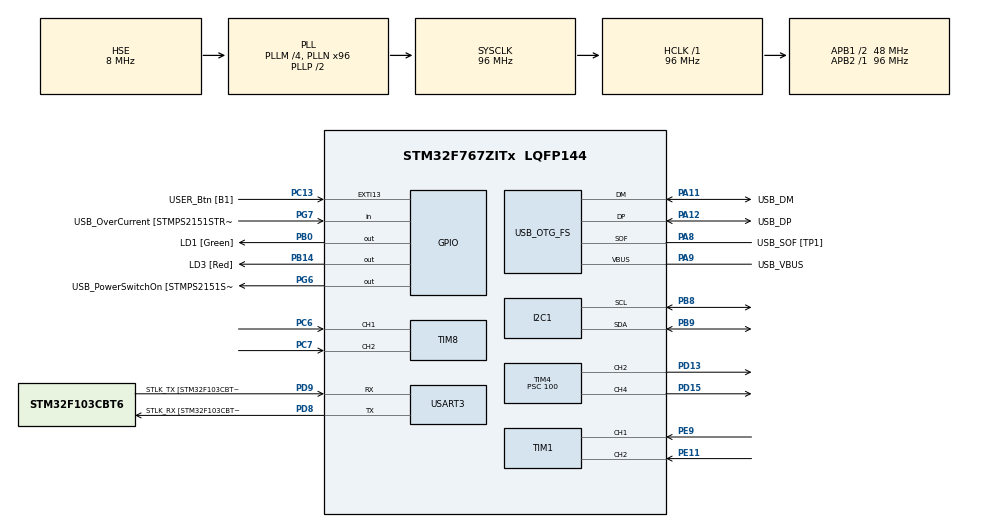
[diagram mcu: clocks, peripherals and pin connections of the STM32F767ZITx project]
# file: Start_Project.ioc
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CORTEX_M7.default_mode_Activation=1
I2C1.Timing=0x20303E5D
Mcu.Family=STM32F7
Mcu.Name=STM32F767ZITx
Mcu.Package=LQFP144
NVIC.PriorityGroup=NVIC_PRIORITYGROUP_4
NVIC.TIM3_IRQn=true\:0\:0\:false\:false\:true\:true\:true\:true
NVIC.USART3_IRQn=true\:0\:0\:false\:false\:true\:true\:true\:true
PA1.GPIO_Label=RMII_REF_CLK [LAN8742A-CZ-TR_REFCLK0]
PA1.Signal=ETH_REF_CLK
PA10.GPIO_Label=USB_ID
PA10.Signal=USB_OTG_FS_ID
PA11.GPIO_Label=USB_DM
PA11.Mode=Device_Only
PA11.Signal=USB_OTG_FS_DM
PA12.GPIO_Label=USB_DP
PA12.Mode=Device_Only
PA12.Signal=USB_OTG_FS_DP
PA13.GPIO_Label=TMS
PA13.Mode=Serial_Wire
PA13.Signal=SYS_JTMS-SWDIO
PA14.GPIO_Label=TCK
PA14.Mode=Serial_Wire
PA14.Signal=SYS_JTCK-SWCLK
PA2.GPIO_Label=RMII_MDIO [LAN8742A-CZ-TR_MDIO]
PA2.Signal=ETH_MDIO
PA8.GPIO_Label=USB_SOF [TP1]
PA8.Mode=Activate_SOF_FS
PA8.Signal=USB_OTG_FS_SOF
PA9.GPIO_Label=USB_VBUS
PA9.Mode=Activate_VBUS
PA9.Signal=USB_OTG_FS_VBUS
PB0.GPIO_Label=LD1 [Green]
PB0.Signal=GPIO_Output
PB13.GPIO_Label=RMII_TXD1 [LAN8742A-CZ-TR_TXD1]
PB13.Signal=ETH_TXD1
PB14.GPIO_Label=LD3 [Red]
PB14.Signal=GPIO_Output
PB3.GPIO_Label=SWO
PB3.Signal=SYS_JTDO-SWO
PB8.Mode=I2C
PB8.Signal=I2C1_SCL
PB9.Mode=I2C
PB9.Signal=I2C1_SDA
PC1.GPIO_Label=RMII_MDC [LAN8742A-CZ-TR_MDC]
PC1.Signal=ETH_MDC
PC13.GPIO_Label=USER_Btn [B1]
PC13.Signal=GPXTI13
PC14/OSC32_IN.Mode=LSE-External-Oscillator
PC14/OSC32_IN.Signal=RCC_OSC32_IN
PC15/OSC32_OUT.Mode=LSE-External-Oscillator
PC15/OSC32_OUT.Signal=RCC_OSC32_OUT
PC4.GPIO_Label=RMII_RXD0 [LAN8742A-CZ-TR_RXD0]
PC4.Signal=ETH_RXD0
PC5.GPIO_Label=RMII_RXD1 [LAN8742A-CZ-TR_RXD1]
PC5.Signal=ETH_RXD1
PC6.GPIO_PuPd=GPIO_PULLUP
PC6.Signal=S_TIM8_CH1
PC7.GPIO_PuPd=GPIO_PULLUP
PC7.Signal=S_TIM8_CH2
PD13.Signal=S_TIM4_CH2
PD15.Signal=S_TIM4_CH4
PD8.GPIO_Label=STLK_RX [STM32F103CBT6_PA3]
PD8.Mode=Asynchronous
PD8.Signal=USART3_TX
PD9.GPIO_Label=STLK_TX [STM32F103CBT6_PA2]
PD9.Mode=Asynchronous
PD9.Signal=USART3_RX
PE11.GPIO_PuPd=GPIO_PULLUP
PE11.Signal=S_TIM1_CH2
PE9.GPIO_PuPd=GPIO_PULLUP
PE9.Signal=S_TIM1_CH1
PG11.GPIO_Label=RMII_TX_EN [LAN8742A-CZ-TR_TXEN]
PG11.Signal=ETH_TX_EN
PG13.GPIO_Label=RMII_TXD0 [LAN8742A-CZ-TR_TXD0]
PG13.Signal=ETH_TXD0
PG6.GPIO_Label=USB_PowerSwitchOn [STMPS2151STR_EN]
PG6.Signal=GPIO_Output
PG7.GPIO_Label=USB_OverCurrent [STMPS2151STR_FAULT]
PG7.Signal=GPIO_Input
PH0/OSC_IN.GPIO_Label=MCO [STM32F103CBT6_PA8]
PH0/OSC_IN.Mode=HSE-External-Clock-Source
PH0/OSC_IN.Signal=RCC_OSC_IN
PH1/OSC_OUT.Mode=HSE-External-Clock-Source
PH1/OSC_OUT.Signal=RCC_OSC_OUT
ProjectManager.HeapSize=0x200
ProjectManager.StackSize=0x400
ProjectManager.TargetToolchain=STM32CubeIDE
RCC.48MHZClocksFreq_Value=24000000
RCC.AHBFreq_Value=96000000
RCC.APB1CLKDivider=RCC_HCLK_DIV2
RCC.APB1Freq_Value=48000000
RCC.APB1TimFreq_Value=96000000
RCC.APB2Freq_Value=96000000
RCC.APB2TimFreq_Value=96000000
RCC.CortexFreq_Value=96000000
RCC.HCLKFreq_Value=96000000
RCC.HSE_VALUE=8000000
RCC.HSI_VALUE=16000000
RCC.PLLM=4
RCC.PLLMUL=RCC_PLL_MUL9
RCC.PLLN=96
RCC.PLLQ=4
RCC.PRESCALERUSB=RCC_USBCLKSOURCE_PLL_DIV1_5
RCC.SYSCLKFreq_VALUE=96000000
RCC.SYSCLKSource=RCC_SYSCLKSOURCE_PLLCLK
RCC.SYSCLKSourceVirtual=RCC_SYSCLKSOURCE_PLLCLK
RCC.USBFreq_Value=48000000
RCC.VCOOutputFreq_Value=192000000
SH.S_TIM1_CH1.0=TIM1_CH1,Encoder_Interface
SH.S_TIM1_CH2.0=TIM1_CH2,Encoder_Interface
SH.S_TIM4_CH2.0=TIM4_CH2,PWM Generation2 CH2
SH.S_TIM4_CH4.0=TIM4_CH4,PWM Generation4 CH4
SH.S_TIM8_CH1.0=TIM8_CH1,Encoder_Interface
SH.S_TIM8_CH2.0=TIM8_CH2,Encoder_Interface
TIM1.EncoderMode=TIM_ENCODERMODE_TI12
TIM1.IC1Filter=10
TIM1.IC2Filter=10
TIM3.AutoReloadPreload=TIM_AUTORELOAD_PRELOAD_ENABLE
TIM3.Period=1999
TIM3.Prescaler=9599
TIM4.Channel-PWM\ Generation2\ CH2=TIM_CHANNEL_2
TIM4.Channel-PWM\ Generation4\ CH4=TIM_CHANNEL_4
TIM4.Period=1000
TIM4.Prescaler=100
TIM8.EncoderMode=TIM_ENCODERMODE_TI12
TIM8.IC1Filter=10
TIM8.IC2Filter=10
USART3.VirtualMode-Asynchronous=VM_ASYNC
USB_OTG_FS.VirtualMode=Device_Only
VP_TIM3_VS_ClockSourceINT.Mode=Internal
board=NUCLEO-F767ZI

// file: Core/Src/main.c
/* USER CODE BEGIN Header */
/**
  ******************************************************************************
  * @file           : main.c
  * @brief          : Main program body
  ******************************************************************************
  * @attention
  *
  * Copyright (c) 2026 STMicroelectronics.
  * All rights reserved.
  *
  * This software is licensed under terms that can be found in the LICENSE file
  * in the root directory of this software component.
  * If no LICENSE file comes with this software, it is provided AS-IS.
  *
  ******************************************************************************
  */
/* USER CODE END Header */
#include "main.h"

/* USER CODE BEGIN Includes */
#include "controller.h"
#include "serial_cmd.h"
#include "interface.h"
#include "plant.h"

#include <stdio.h>
#include <string.h>
#include <stdlib.h>
/* USER CODE END Includes */

I2C_HandleTypeDef hi2c1;

TIM_HandleTypeDef htim1;
TIM_HandleTypeDef htim3;
TIM_HandleTypeDef htim4;
TIM_HandleTypeDef htim8;

UART_HandleTypeDef huart3;

PCD_HandleTypeDef hpcd_USB_OTG_FS;

/* USER CODE BEGIN PV */
volatile uint8_t run_controller_flag = 0;

extern volatile SystemState sys_state;
/* USER CODE END PV */

void SystemClock_Config(void);
static void MPU_Config(void);
static void MX_GPIO_Init(void);
static void MX_USART3_UART_Init(void);
static void MX_USB_OTG_FS_PCD_Init(void);
static void MX_I2C1_Init(void);
static void MX_TIM4_Init(void);
static void MX_TIM1_Init(void);
static void MX_TIM3_Init(void);
static void MX_TIM8_Init(void);

/* USER CODE BEGIN 0 */

// callback (just for safety)
void HAL_UART_RxCpltCallback(UART_HandleTypeDef *huart)
{
    Serial_RxCallback(huart);//serial.c
}

/* USER CODE END 0 */

int main(void)
{

  /* MPU Configuration--------------------------------------------------------*/
  MPU_Config();

  /* MCU Configuration--------------------------------------------------------*/

  /* Reset of all peripherals, Initializes the Flash interface and the Systick. */
  HAL_Init();

  /* Configure the system clock */
  SystemClock_Config();

  /* Initialize all configured peripherals */
  MX_GPIO_Init();
  MX_USART3_UART_Init();
  MX_USB_OTG_FS_PCD_Init();
  MX_I2C1_Init();
  MX_TIM4_Init();
  MX_TIM1_Init();
  MX_TIM3_Init();
  MX_TIM8_Init();
  /* USER CODE BEGIN 2 */
  Interface_Init();

  /*check if it sees the device*/
  /*HAL_Delay(100);
    for(uint16_t i=0; i<128; i++) {
        if(HAL_I2C_IsDeviceReady(&hi2c1, (i<<1), 1, 10) == HAL_OK) {
            HAL_GPIO_WritePin(LD1_GPIO_Port, LD1_Pin, GPIO_PIN_SET);
            break;
        }
    }*/
/*
  ssd1306_Init();
  ssd1306_Fill(Black);
  ssd1306_SetCursor(10, 20);
  ssd1306_WriteString("skibidi", Font_11x18, White);
  ssd1306_SetCursor(10, 45);
  ssd1306_WriteString("toilet", Font_7x10, White);
  ssd1306_UpdateScreen();
*/

  	//ssd1306_Init();
    //ssd1306_Fill(Black);

    HAL_TIM_Encoder_Start(&htim1, TIM_CHANNEL_ALL);//encoder1

    //led
    HAL_TIM_PWM_Start(&htim4, TIM_CHANNEL_4);

    HAL_TIM_Encoder_Start(&htim8, TIM_CHANNEL_ALL); //encoder2
    HAL_TIM_PWM_Start(&htim4, TIM_CHANNEL_2);    //led(s) 2

    HAL_TIM_Base_Start_IT(&htim3);
    HAL_UART_Receive_IT(&huart3, &rx_data, 1);

    uint8_t bh_cmd = 0x10; // cmd: continuous high-res
    HAL_I2C_Master_Transmit(&hi2c1, (0x23 << 1), &bh_cmd, 1, 100);

    //set encoder to center
    __HAL_TIM_SET_COUNTER(&htim1, 32000);
    __HAL_TIM_SET_COUNTER(&htim8, 100);   // target start 100 luxes (200/2)

    //wifi
      //ssd1306_Fill(Black);
      //ssd1306_SetCursor(0, 20);
      //ssd1306_WriteString("Wi-Fi Connecting...", Font_7x10, White);
      //ssd1306_UpdateScreen();

      //ESP_Init();

      //ssd1306_Fill(Black);//cln

  /* USER CODE END 2 */

  /* Infinite loop */
  /* USER CODE BEGIN WHILE */

  while (1)
  {
	  // --- LOGIKA STEROWANIA I KOMUNIKACJI (CO 200ms) ---
	  if (run_controller_flag == 1) {
	      run_controller_flag = 0;

	      //pi control
	      Controller_Step();

	      ///disturbance
	      Plant_ProcessDisturbance();

	      //OLED
	      Interface_Update();
	  }

	  	  	  	  	  	  	  	  	  // wifi module sadly not working
	  	             /* sprintf(udp_msg, "LUX:%d", (int)sys_state.current_lux);
	  	              len = strlen(udp_msg);

	  	              sprintf(send_cmd, "AT+CIPSEND=%d\r\n", len);
	  	              HAL_UART_Transmit(&huart6, (uint8_t*)send_cmd, strlen(send_cmd), 100);
	  	              HAL_Delay(10);
	  	              HAL_UART_Transmit(&huart6, (uint8_t*)udp_msg, len, 100);*/

	  if (uart_msg_received == 1) {
	              uart_msg_received = 0;
	              Parse_UART_Command(); //pyhton app
	        }

  }
    /* USER CODE END WHILE */

}

void SystemClock_Config(void)
{
  RCC_OscInitTypeDef RCC_OscInitStruct = {0};
  RCC_ClkInitTypeDef RCC_ClkInitStruct = {0};

  /** Configure LSE Drive Capability
  */
  HAL_PWR_EnableBkUpAccess();

  /** Configure the main internal regulator output voltage
  */
  __HAL_RCC_PWR_CLK_ENABLE();
  __HAL_PWR_VOLTAGESCALING_CONFIG(PWR_REGULATOR_VOLTAGE_SCALE3);

  /** Initializes the RCC Oscillators according to the specified parameters
  * in the RCC_OscInitTypeDef structure.
  */
  RCC_OscInitStruct.OscillatorType = RCC_OSCILLATORTYPE_HSE;
  RCC_OscInitStruct.HSEState = RCC_HSE_BYPASS;
  RCC_OscInitStruct.PLL.PLLState = RCC_PLL_ON;
  RCC_OscInitStruct.PLL.PLLSource = RCC_PLLSOURCE_HSE;
  RCC_OscInitStruct.PLL.PLLM = 4;
  RCC_OscInitStruct.PLL.PLLN = 96;
  RCC_OscInitStruct.PLL.PLLP = RCC_PLLP_DIV2;
  RCC_OscInitStruct.PLL.PLLQ = 4;
  RCC_OscInitStruct.PLL.PLLR = 2;
  if (HAL_RCC_OscConfig(&RCC_OscInitStruct) != HAL_OK)
  {
    Error_Handler();
  }

  /** Activate the Over-Drive mode
  */
  if (HAL_PWREx_EnableOverDrive() != HAL_OK)
  {
    Error_Handler();
  }

  /** Initializes the CPU, AHB and APB buses clocks
  */
  RCC_ClkInitStruct.ClockType = RCC_CLOCKTYPE_HCLK|RCC_CLOCKTYPE_SYSCLK
                              |RCC_CLOCKTYPE_PCLK1|RCC_CLOCKTYPE_PCLK2;
  RCC_ClkInitStruct.SYSCLKSource = RCC_SYSCLKSOURCE_PLLCLK;
  RCC_ClkInitStruct.AHBCLKDivider = RCC_SYSCLK_DIV1;
  RCC_ClkInitStruct.APB1CLKDivider = RCC_HCLK_DIV2;
  RCC_ClkInitStruct.APB2CLKDivider = RCC_HCLK_DIV1;

  if (HAL_RCC_ClockConfig(&RCC_ClkInitStruct, FLASH_LATENCY_3) != HAL_OK)
  {
    Error_Handler();
  }
}

static void MX_I2C1_Init(void)
{

  hi2c1.Instance = I2C1;
  hi2c1.Init.Timing = 0x20303E5D;
  hi2c1.Init.OwnAddress1 = 0;
  hi2c1.Init.AddressingMode = I2C_ADDRESSINGMODE_7BIT;
  hi2c1.Init.DualAddressMode = I2C_DUALADDRESS_DISABLE;
  hi2c1.Init.OwnAddress2 = 0;
  hi2c1.Init.OwnAddress2Masks = I2C_OA2_NOMASK;
  hi2c1.Init.GeneralCallMode = I2C_GENERALCALL_DISABLE;
  hi2c1.Init.NoStretchMode = I2C_NOSTRETCH_DISABLE;
  if (HAL_I2C_Init(&hi2c1) != HAL_OK)
  {
    Error_Handler();
  }

  /** Configure Analogue filter
  */
  if (HAL_I2CEx_ConfigAnalogFilter(&hi2c1, I2C_ANALOGFILTER_ENABLE) != HAL_OK)
  {
    Error_Handler();
  }

  /** Configure Digital filter
  */
  if (HAL_I2CEx_ConfigDigitalFilter(&hi2c1, 0) != HAL_OK)
  {
    Error_Handler();
  }

}

static void MX_TIM1_Init(void)
{

  TIM_Encoder_InitTypeDef sConfig = {0};
  TIM_MasterConfigTypeDef sMasterConfig = {0};

  htim1.Instance = TIM1;
  htim1.Init.Prescaler = 0;
  htim1.Init.CounterMode = TIM_COUNTERMODE_UP;
  htim1.Init.Period = 65535;
  htim1.Init.ClockDivision = TIM_CLOCKDIVISION_DIV1;
  htim1.Init.RepetitionCounter = 0;
  htim1.Init.AutoReloadPreload = TIM_AUTORELOAD_PRELOAD_DISABLE;
  sConfig.EncoderMode = TIM_ENCODERMODE_TI12;
  sConfig.IC1Polarity = TIM_ICPOLARITY_RISING;
  sConfig.IC1Selection = TIM_ICSELECTION_DIRECTTI;
  sConfig.IC1Prescaler = TIM_ICPSC_DIV1;
  sConfig.IC1Filter = 10;
  sConfig.IC2Polarity = TIM_ICPOLARITY_RISING;
  sConfig.IC2Selection = TIM_ICSELECTION_DIRECTTI;
  sConfig.IC2Prescaler = TIM_ICPSC_DIV1;
  sConfig.IC2Filter = 10;
  if (HAL_TIM_Encoder_Init(&htim1, &sConfig) != HAL_OK)
  {
    Error_Handler();
  }
  sMasterConfig.MasterOutputTrigger = TIM_TRGO_RESET;
  sMasterConfig.MasterOutputTrigger2 = TIM_TRGO2_RESET;
  sMasterConfig.MasterSlaveMode = TIM_MASTERSLAVEMODE_DISABLE;
  if (HAL_TIMEx_MasterConfigSynchronization(&htim1, &sMasterConfig) != HAL_OK)
  {
    Error_Handler();
  }

}

static void MX_TIM3_Init(void)
{

  TIM_ClockConfigTypeDef sClockSourceConfig = {0};
  TIM_MasterConfigTypeDef sMasterConfig = {0};

  htim3.Instance = TIM3;
  htim3.Init.Prescaler = 9599;
  htim3.Init.CounterMode = TIM_COUNTERMODE_UP;
  htim3.Init.Period = 1999;
  htim3.Init.ClockDivision = TIM_CLOCKDIVISION_DIV1;
  htim3.Init.AutoReloadPreload = TIM_AUTORELOAD_PRELOAD_ENABLE;
  if (HAL_TIM_Base_Init(&htim3) != HAL_OK)
  {
    Error_Handler();
  }
  sClockSourceConfig.ClockSource = TIM_CLOCKSOURCE_INTERNAL;
  if (HAL_TIM_ConfigClockSource(&htim3, &sClockSourceConfig) != HAL_OK)
  {
    Error_Handler();
  }
  sMasterConfig.MasterOutputTrigger = TIM_TRGO_RESET;
  sMasterConfig.MasterSlaveMode = TIM_MASTERSLAVEMODE_DISABLE;
  if (HAL_TIMEx_MasterConfigSynchronization(&htim3, &sMasterConfig) != HAL_OK)
  {
    Error_Handler();
  }

}

static void MX_TIM4_Init(void)
{

  TIM_MasterConfigTypeDef sMasterConfig = {0};
  TIM_OC_InitTypeDef sConfigOC = {0};

  htim4.Instance = TIM4;
  htim4.Init.Prescaler = 100;
  htim4.Init.CounterMode = TIM_COUNTERMODE_UP;
  htim4.Init.Period = 1000;
  htim4.Init.ClockDivision = TIM_CLOCKDIVISION_DIV1;
  htim4.Init.AutoReloadPreload = TIM_AUTORELOAD_PRELOAD_DISABLE;
  if (HAL_TIM_PWM_Init(&htim4) != HAL_OK)
  {
    Error_Handler();
  }
  sMasterConfig.MasterOutputTrigger = TIM_TRGO_RESET;
  sMasterConfig.MasterSlaveMode = TIM_MASTERSLAVEMODE_DISABLE;
  if (HAL_TIMEx_MasterConfigSynchronization(&htim4, &sMasterConfig) != HAL_OK)
  {
    Error_Handler();
  }
  sConfigOC.OCMode = TIM_OCMODE_PWM1;
  sConfigOC.Pulse = 0;
  sConfigOC.OCPolarity = TIM_OCPOLARITY_HIGH;
  sConfigOC.OCFastMode = TIM_OCFAST_DISABLE;
  if (HAL_TIM_PWM_ConfigChannel(&htim4, &sConfigOC, TIM_CHANNEL_2) != HAL_OK)
  {
    Error_Handler();
  }
  if (HAL_TIM_PWM_ConfigChannel(&htim4, &sConfigOC, TIM_CHANNEL_4) != HAL_OK)
  {
    Error_Handler();
  }
  HAL_TIM_MspPostInit(&htim4);

}

static void MX_TIM8_Init(void)
{

  TIM_Encoder_InitTypeDef sConfig = {0};
  TIM_MasterConfigTypeDef sMasterConfig = {0};

  htim8.Instance = TIM8;
  htim8.Init.Prescaler = 0;
  htim8.Init.CounterMode = TIM_COUNTERMODE_UP;
  htim8.Init.Period = 65535;
  htim8.Init.ClockDivision = TIM_CLOCKDIVISION_DIV1;
  htim8.Init.RepetitionCounter = 0;
  htim8.Init.AutoReloadPreload = TIM_AUTORELOAD_PRELOAD_DISABLE;
  sConfig.EncoderMode = TIM_ENCODERMODE_TI12;
  sConfig.IC1Polarity = TIM_ICPOLARITY_RISING;
  sConfig.IC1Selection = TIM_ICSELECTION_DIRECTTI;
  sConfig.IC1Prescaler = TIM_ICPSC_DIV1;
  sConfig.IC1Filter = 10;
  sConfig.IC2Polarity = TIM_ICPOLARITY_RISING;
  sConfig.IC2Selection = TIM_ICSELECTION_DIRECTTI;
  sConfig.IC2Prescaler = TIM_ICPSC_DIV1;
  sConfig.IC2Filter = 10;
  if (HAL_TIM_Encoder_Init(&htim8, &sConfig) != HAL_OK)
  {
    Error_Handler();
  }
  sMasterConfig.MasterOutputTrigger = TIM_TRGO_RESET;
  sMasterConfig.MasterOutputTrigger2 = TIM_TRGO2_RESET;
  sMasterConfig.MasterSlaveMode = TIM_MASTERSLAVEMODE_DISABLE;
  if (HAL_TIMEx_MasterConfigSynchronization(&htim8, &sMasterConfig) != HAL_OK)
  {
    Error_Handler();
  }

}

static void MX_USART3_UART_Init(void)
{

  huart3.Instance = USART3;
  huart3.Init.BaudRate = 115200;
  huart3.Init.WordLength = UART_WORDLENGTH_8B;
  huart3.Init.StopBits = UART_STOPBITS_1;
  huart3.Init.Parity = UART_PARITY_NONE;
  huart3.Init.Mode = UART_MODE_TX_RX;
  huart3.Init.HwFlowCtl = UART_HWCONTROL_NONE;
  huart3.Init.OverSampling = UART_OVERSAMPLING_16;
  huart3.Init.OneBitSampling = UART_ONE_BIT_SAMPLE_DISABLE;
  huart3.AdvancedInit.AdvFeatureInit = UART_ADVFEATURE_NO_INIT;
  if (HAL_UART_Init(&huart3) != HAL_OK)
  {
    Error_Handler();
  }

}

static void MX_USB_OTG_FS_PCD_Init(void)
{

  hpcd_USB_OTG_FS.Instance = USB_OTG_FS;
  hpcd_USB_OTG_FS.Init.dev_endpoints = 6;
  hpcd_USB_OTG_FS.Init.speed = PCD_SPEED_FULL;
  hpcd_USB_OTG_FS.Init.dma_enable = DISABLE;
  hpcd_USB_OTG_FS.Init.phy_itface = PCD_PHY_EMBEDDED;
  hpcd_USB_OTG_FS.Init.Sof_enable = ENABLE;
  hpcd_USB_OTG_FS.Init.low_power_enable = DISABLE;
  hpcd_USB_OTG_FS.Init.lpm_enable = DISABLE;
  hpcd_USB_OTG_FS.Init.vbus_sensing_enable = ENABLE;
  hpcd_USB_OTG_FS.Init.use_dedicated_ep1 = DISABLE;
  if (HAL_PCD_Init(&hpcd_USB_OTG_FS) != HAL_OK)
  {
    Error_Handler();
  }

}

static void MX_GPIO_Init(void)
{
  GPIO_InitTypeDef GPIO_InitStruct = {0};

  /* GPIO Ports Clock Enable */
  __HAL_RCC_GPIOC_CLK_ENABLE();
  __HAL_RCC_GPIOH_CLK_ENABLE();
  __HAL_RCC_GPIOA_CLK_ENABLE();
  __HAL_RCC_GPIOB_CLK_ENABLE();
  __HAL_RCC_GPIOE_CLK_ENABLE();
  __HAL_RCC_GPIOD_CLK_ENABLE();
  __HAL_RCC_GPIOG_CLK_ENABLE();

  /*Configure GPIO pin Output Level */
  HAL_GPIO_WritePin(GPIOB, LD1_Pin|LD3_Pin, GPIO_PIN_RESET);

  /*Configure GPIO pin Output Level */
  HAL_GPIO_WritePin(USB_PowerSwitchOn_GPIO_Port, USB_PowerSwitchOn_Pin, GPIO_PIN_RESET);

  /*Configure GPIO pin : USER_Btn_Pin */
  GPIO_InitStruct.Pin = USER_Btn_Pin;
  GPIO_InitStruct.Mode = GPIO_MODE_IT_RISING;
  GPIO_InitStruct.Pull = GPIO_NOPULL;
  HAL_GPIO_Init(USER_Btn_GPIO_Port, &GPIO_InitStruct);

  /*Configure GPIO pins : RMII_MDC_Pin RMII_RXD0_Pin RMII_RXD1_Pin */
  GPIO_InitStruct.Pin = RMII_MDC_Pin|RMII_RXD0_Pin|RMII_RXD1_Pin;
  GPIO_InitStruct.Mode = GPIO_MODE_AF_PP;
  GPIO_InitStruct.Pull = GPIO_NOPULL;
  GPIO_InitStruct.Speed = GPIO_SPEED_FREQ_HIGH;
  GPIO_InitStruct.Alternate = GPIO_AF11_ETH;
  HAL_GPIO_Init(GPIOC, &GPIO_InitStruct);

  /*Configure GPIO pins : RMII_REF_CLK_Pin RMII_MDIO_Pin */
  GPIO_InitStruct.Pin = RMII_REF_CLK_Pin|RMII_MDIO_Pin;
  GPIO_InitStruct.Mode = GPIO_MODE_AF_PP;
  GPIO_InitStruct.Pull = GPIO_NOPULL;
  GPIO_InitStruct.Speed = GPIO_SPEED_FREQ_HIGH;
  GPIO_InitStruct.Alternate = GPIO_AF11_ETH;
  HAL_GPIO_Init(GPIOA, &GPIO_InitStruct);

  /*Configure GPIO pins : LD1_Pin LD3_Pin */
  GPIO_InitStruct.Pin = LD1_Pin|LD3_Pin;
  GPIO_InitStruct.Mode = GPIO_MODE_OUTPUT_PP;
  GPIO_InitStruct.Pull = GPIO_NOPULL;
  GPIO_InitStruct.Speed = GPIO_SPEED_FREQ_LOW;
  HAL_GPIO_Init(GPIOB, &GPIO_InitStruct);

  /*Configure GPIO pin : RMII_TXD1_Pin */
  GPIO_InitStruct.Pin = RMII_TXD1_Pin;
  GPIO_InitStruct.Mode = GPIO_MODE_AF_PP;
  GPIO_InitStruct.Pull = GPIO_NOPULL;
  GPIO_InitStruct.Speed = GPIO_SPEED_FREQ_HIGH;
  GPIO_InitStruct.Alternate = GPIO_AF11_ETH;
  HAL_GPIO_Init(RMII_TXD1_GPIO_Port, &GPIO_InitStruct);

  /*Configure GPIO pin : USB_PowerSwitchOn_Pin */
  GPIO_InitStruct.Pin = USB_PowerSwitchOn_Pin;
  GPIO_InitStruct.Mode = GPIO_MODE_OUTPUT_PP;
  GPIO_InitStruct.Pull = GPIO_NOPULL;
  GPIO_InitStruct.Speed = GPIO_SPEED_FREQ_LOW;
  HAL_GPIO_Init(USB_PowerSwitchOn_GPIO_Port, &GPIO_InitStruct);

  /*Configure GPIO pin : USB_OverCurrent_Pin */
  GPIO_InitStruct.Pin = USB_OverCurrent_Pin;
  GPIO_InitStruct.Mode = GPIO_MODE_INPUT;
  GPIO_InitStruct.Pull = GPIO_NOPULL;
  HAL_GPIO_Init(USB_OverCurrent_GPIO_Port, &GPIO_InitStruct);

  /*Configure GPIO pins : RMII_TX_EN_Pin RMII_TXD0_Pin */
  GPIO_InitStruct.Pin = RMII_TX_EN_Pin|RMII_TXD0_Pin;
  GPIO_InitStruct.Mode = GPIO_MODE_AF_PP;
  GPIO_InitStruct.Pull = GPIO_NOPULL;
  GPIO_InitStruct.Speed = GPIO_SPEED_FREQ_HIGH;
  GPIO_InitStruct.Alternate = GPIO_AF11_ETH;
  HAL_GPIO_Init(GPIOG, &GPIO_InitStruct);

}

/* USER CODE BEGIN 4 */
// called automatically every 200ms
void HAL_TIM_PeriodElapsedCallback(TIM_HandleTypeDef *htim)
{
    if (htim->Instance == TIM3) {
        // Do NOT run complex code here. Just set the flag.
        run_controller_flag = 1;
    }
}
/* USER CODE END 4 */

 /* MPU Configuration */

void MPU_Config(void)
{
  MPU_Region_InitTypeDef MPU_InitStruct = {0};

  /* Disables the MPU */
  HAL_MPU_Disable();

  /** Initializes and configures the Region and the memory to be protected
  */
  MPU_InitStruct.Enable = MPU_REGION_ENABLE;
  MPU_InitStruct.Number = MPU_REGION_NUMBER0;
  MPU_InitStruct.BaseAddress = 0x0;
  MPU_InitStruct.Size = MPU_REGION_SIZE_4GB;
  MPU_InitStruct.SubRegionDisable = 0x87;
  MPU_InitStruct.TypeExtField = MPU_TEX_LEVEL0;
  MPU_InitStruct.AccessPermission = MPU_REGION_NO_ACCESS;
  MPU_InitStruct.DisableExec = MPU_INSTRUCTION_ACCESS_DISABLE;
  MPU_InitStruct.IsShareable = MPU_ACCESS_SHAREABLE;
  MPU_InitStruct.IsCacheable = MPU_ACCESS_NOT_CACHEABLE;
  MPU_InitStruct.IsBufferable = MPU_ACCESS_NOT_BUFFERABLE;

  HAL_MPU_ConfigRegion(&MPU_InitStruct);
  /* Enables the MPU */
  HAL_MPU_Enable(MPU_PRIVILEGED_DEFAULT);

}

void Error_Handler(void)
{
  __disable_irq();
  while (1)
  {
  }
}
